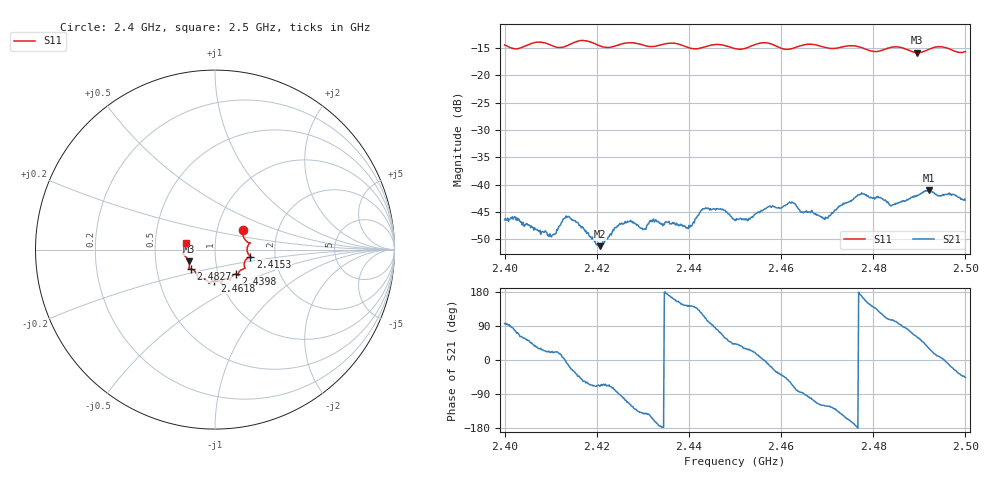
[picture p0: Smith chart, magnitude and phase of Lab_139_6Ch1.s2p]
# Hz S RI R 50
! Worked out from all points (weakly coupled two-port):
!   601 points, 2.4 GHz to 2.5 GHz, reference 50 ohm
!   highest |S21| = -41.06 dB at 2.492 GHz (marker M1); lowest = -51.2 dB at 2.4207 GHz (marker M2)
!   lowest |S11| = -15.9 dB at 2.4895 GHz (marker M3), VSWR 1.38, Z = 37 - j5.03 ohm
!   |S11| at or under -10 dB: start of sweep to end of sweep
!   S12 and S22 are empty: the file has one direction only
!   S11 on the Smith chart (normalised r, x): 2.4 GHz: 1.33, +0.30; 2.4153 GHz: 1.48, -0.12; 2.4398 GHz: 1.21, -0.34; 2.4618 GHz: 0.94, -0.33; 2.4827 GHz: 0.75, -0.17; 2.5 GHz: 0.72, +0.06
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2.4e9  0.1555 0.1071  -0.000494 0.00476  0 0  0 0
2.409833e9  0.1871 0.0282  0.00335 0.0012  0 0  0 0
2.413167e9  0.1818 -0.0173  0.00497 -5.79e-05  0 0  0 0
2.415333e9  0.1964 -0.0396  0.00389 -0.00264  0 0  0 0
2.416667e9  0.2022 -0.0437  0.00261 -0.00308  0 0  0 0
2.420667e9  0.1779 -0.0502  0.000976 -0.00257  0 0  0 0
2.425e9  0.1646 -0.0962  -0.00011 -0.00442  0 0  0 0
2.430167e9  0.1513 -0.1106  -0.00309 -0.00242  0 0  0 0
2.433333e9  0.1301 -0.1335  -0.00457 -0.000664  0 0  0 0
2.439833e9  0.1156 -0.1361  -0.0031 0.00248  0 0  0 0
2.4435e9  0.0865 -0.1595  -0.00215 0.00565  0 0  0 0
2.45e9  0.0651 -0.1622  0.00343 0.00323  0 0  0 0
2.456333e9  0.0386 -0.1938  0.00598 -3.26e-05  0 0  0 0
2.461833e9  -0.00294 -0.1724  0.00379 -0.00583  0 0  0 0
2.466667e9  -0.0343 -0.1882  -0.00137 -0.00567  0 0  0 0
2.469667e9  -0.045 -0.1728  -0.00262 -0.00432  0 0  0 0
2.477167e9  -0.0975 -0.1517  -0.0081 0.00104  0 0  0 0
2.482667e9  -0.1349 -0.1085  -0.00273 0.0067  0 0  0 0
2.483333e9  -0.1399 -0.1081  -0.0021 0.0064  0 0  0 0
2.4895e9  -0.1458 -0.0662  0.00392 0.00697  0 0  0 0
2.492e9  -0.1678 -0.0342  0.00748 0.00473  0 0  0 0
2.5e9  -0.1592 0.0386  0.00498 -0.00522  0 0  0 0
